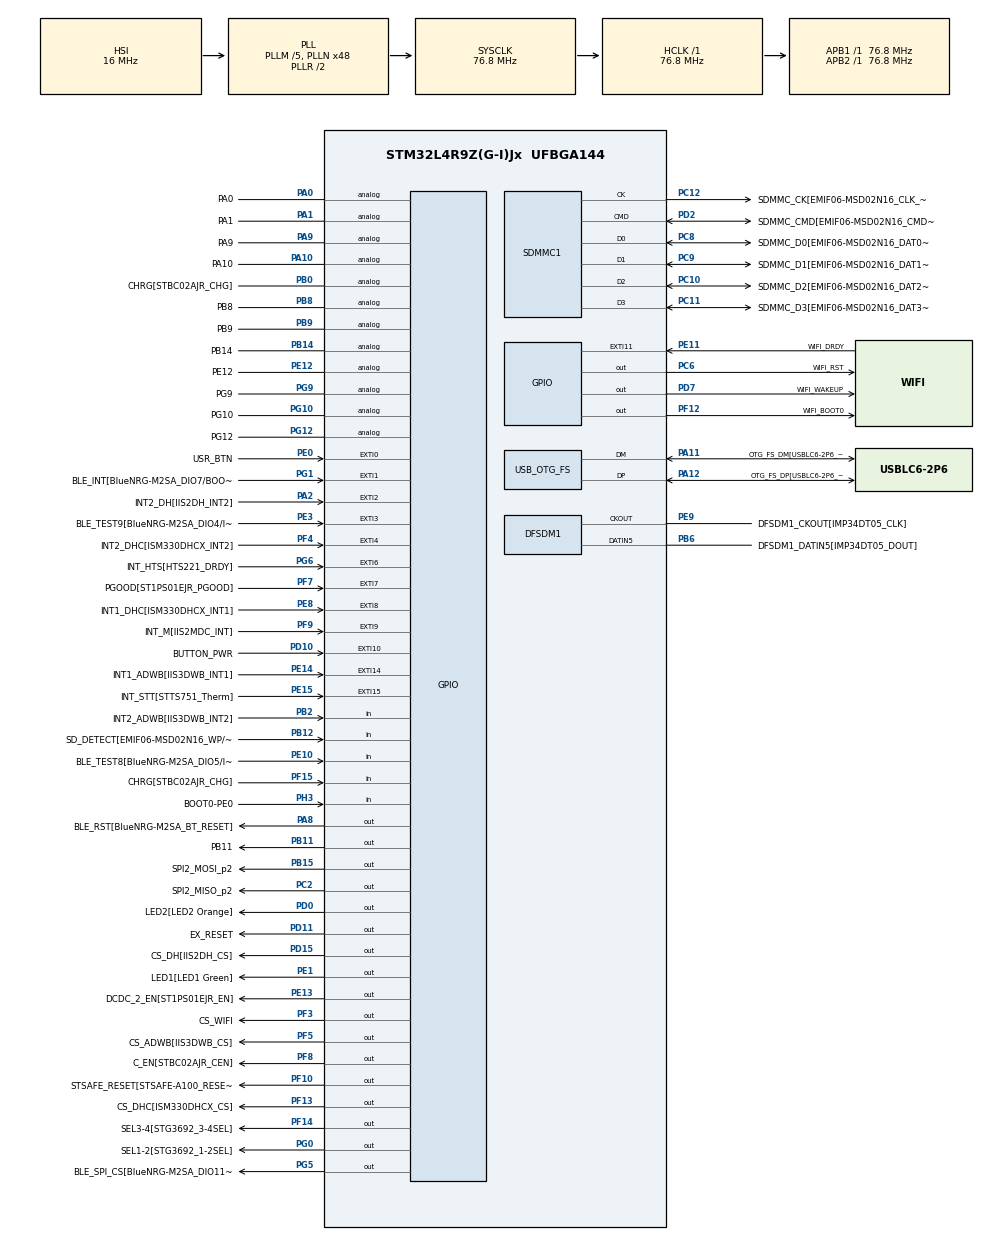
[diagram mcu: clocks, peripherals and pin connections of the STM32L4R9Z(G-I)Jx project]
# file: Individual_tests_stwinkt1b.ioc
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DFSDM1.Divider=25
DFSDM1.DmaMode_reg_FIL0=ENABLE
DFSDM1.FastMode_reg_FIL0=ENABLE
DFSDM1.FilterOrder_CH4=DFSDM_CHANNEL_FASTSINC_ORDER
DFSDM1.Filter_regChannel_FIL0=DFSDM_CHANNEL_4
DFSDM1.Fosr_FIL0=64
DFSDM1.RightBitShift_CH4=0x02
DFSDM1.SincOrder_FIL0=DFSDM_FILTER_SINC4_ORDER
DFSDM1.Type_spi_CH4=DFSDM_CHANNEL_SPI_RISING
Dma.DFSDM1_FLT0.0.Direction=DMA_PERIPH_TO_MEMORY
Dma.DFSDM1_FLT0.0.EventEnable=DISABLE
Dma.DFSDM1_FLT0.0.Instance=DMA1_Channel1
Dma.DFSDM1_FLT0.0.MemDataAlignment=DMA_MDATAALIGN_WORD
Dma.DFSDM1_FLT0.0.MemInc=DMA_MINC_ENABLE
Dma.DFSDM1_FLT0.0.Mode=DMA_CIRCULAR
Dma.DFSDM1_FLT0.0.PeriphDataAlignment=DMA_PDATAALIGN_WORD
Dma.DFSDM1_FLT0.0.PeriphInc=DMA_PINC_DISABLE
Dma.DFSDM1_FLT0.0.Polarity=HAL_DMAMUX_REQUEST_GEN_RISING
Dma.DFSDM1_FLT0.0.Priority=DMA_PRIORITY_LOW
Dma.DFSDM1_FLT0.0.RequestNumber=1
Dma.DFSDM1_FLT0.0.SignalID=NONE
Dma.DFSDM1_FLT0.0.SyncEnable=DISABLE
Dma.DFSDM1_FLT0.0.SyncPolarity=HAL_DMAMUX_SYNC_NO_EVENT
Dma.DFSDM1_FLT0.0.SyncRequestNumber=1
Dma.DFSDM1_FLT0.0.SyncSignalID=NONE
Dma.Request0=DFSDM1_FLT0
FATFS.BSP.number=1
FATFS.USE_DMA_CODE_SD=1
FATFS0.BSP.STBoard=false
FATFS0.BSP.api=Unknown
FATFS0.BSP.instance=PB12
FATFS0.BSP.ip=GPIO
FATFS0.BSP.mode=Input
FATFS0.BSP.name=Detect_SDIO
FATFS0.BSP.solution=PB12
Mcu.Family=STM32L4
Mcu.Name=STM32L4R9Z(G-I)Jx
Mcu.Package=UFBGA144
NVIC.DMA1_Channel1_IRQn=true\:0\:0\:false\:false\:true\:false\:true\:true
NVIC.EXTI0_IRQn=true\:0\:0\:false\:false\:true\:true\:true\:true
NVIC.PriorityGroup=NVIC_PRIORITYGROUP_4
NVIC.SDMMC1_IRQn=true\:0\:0\:false\:false\:true\:true\:true\:true
PA0.GPIO_Label=PA0
PA0.Signal=GPIO_Analog
PA1.GPIO_Label=PA1
PA1.Signal=GPIO_Analog
PA10.GPIO_Label=PA10
PA10.Signal=GPIO_Analog
PA11.GPIO_Label=OTG_FS_DM[USBLC6-2P6_D2]
PA11.Mode=Device_Only
PA11.Signal=USB_OTG_FS_DM
PA12.GPIO_Label=OTG_FS_DP[USBLC6-2P6_D1]
PA12.Mode=Device_Only
PA12.Signal=USB_OTG_FS_DP
PA13\ (JTMS/SWDIO).GPIO_Label=SWDIO
PA13\ (JTMS/SWDIO).Signal=SYS_JTMS-SWDIO
PA14\ (JTCK/SWCLK).GPIO_Label=SWDCLK
PA14\ (JTCK/SWCLK).Signal=SYS_JTCK-SWCLK
PA15\ (JTDI).GPIO_Label=EX_PWM
PA15\ (JTDI).Signal=S_TIM2_CH1
PA2.GPIO_Label=INT2_DH[IIS2DH_INT2]
PA2.Signal=GPXTI2
PA4.GPIO_Label=DAC1_OUT1
PA4.Signal=COMP_DAC11_group
PA5.GPIO_Label=EX_ADC
PA5.Signal=ADCx_IN10
PA8.GPIO_Label=BLE_RST[BlueNRG-M2SA_BT_RESET]
PA8.Signal=GPIO_Output
PA9.GPIO_Label=PA9
PA9.Signal=GPIO_Analog
PB0.GPIO_Label=CHRG[STBC02AJR_CHG]
PB0.Signal=GPIO_Analog
PB1.GPIO_Label=USART3_RTS[STG3692_3S2]
PB1.Signal=USART3_RTS
PB10.GPIO_Label=DFSDM1_D7
PB10.GPIO_PuPd=GPIO_PULLDOWN
PB10.GPIO_Speed=GPIO_SPEED_FREQ_VERY_HIGH
PB10.Signal=S_DATAIN7DFSDM1
PB11.GPIO_Label=PB11
PB11.Signal=GPIO_Output
PB12.GPIO_Label=SD_DETECT[EMIF06-MSD02N16_WP/CD]
PB12.Signal=GPIO_Input
PB13.GPIO_Label=USART3_CTS
PB13.Signal=USART3_CTS
PB14.GPIO_Label=PB14
PB14.Signal=GPIO_Analog
PB15.GPIO_Label=SPI2_MOSI_p2
PB15.Signal=GPIO_Output
PB2.GPIO_Label=INT2_ADWB[IIS3DWB_INT2]
PB2.Signal=GPIO_Input
PB3\ (JTDO/TRACESWO).GPIO_Label=SPI3_CLK[SENSORS_SCL]
PB3\ (JTDO/TRACESWO).Signal=SPI3_SCK
PB4\ (NJTRST).GPIO_Label=SPI3_MISO[SENSORS_SDO]
PB4\ (NJTRST).Signal=SPI3_MISO
PB5.GPIO_Label=SPI3_MOSI[SENSORS_SDA]
PB5.Signal=SPI3_MOSI
PB6.GPIO_Label=DFSDM1_DATIN5[IMP34DT05_DOUT]
PB6.GPIO_PuPd=GPIO_PULLDOWN
PB6.GPIO_Speed=GPIO_SPEED_FREQ_VERY_HIGH
PB6.Signal=S_DATAIN5DFSDM1
PB8.GPIO_Label=PB8
PB8.Signal=GPIO_Analog
PB9.GPIO_Label=PB9
PB9.Signal=GPIO_Analog
PC0.GPIO_Label=ADC1_IN1[TS922EIJT_OUT2]
PC0.Signal=ADCx_IN1
PC1.GPIO_Label=ADC1_IN2[TS922EIJT_OUT1]
PC1.Signal=ADCx_IN2
PC10.GPIO_Label=SDMMC_D2[EMIF06-MSD02N16_DAT2_In]
PC10.Mode=SD_4_bits_Wide_bus
PC10.Signal=SDMMC1_D2
PC11.GPIO_Label=SDMMC_D3[EMIF06-MSD02N16_DAT3_In]
PC11.Mode=SD_4_bits_Wide_bus
PC11.Signal=SDMMC1_D3
PC12.GPIO_Label=SDMMC_CK[EMIF06-MSD02N16_CLK_In]
PC12.Mode=SD_4_bits_Wide_bus
PC12.Signal=SDMMC1_CK
PC13.GPIO_Label=RTC_TAMP1
PC13.Signal=RTC_TAMP1
PC14-OSC32_IN\ (PC14).GPIO_Label=OSC32_IN
PC14-OSC32_IN\ (PC14).Signal=RCC_OSC32_IN
PC15-OSC32_OUT\ (PC15).GPIO_Label=OSC32_OUT
PC15-OSC32_OUT\ (PC15).Signal=RCC_OSC32_OUT
PC2.GPIO_Label=SPI2_MISO_p2
PC2.Signal=GPIO_Output
PC3.GPIO_Label=SPI2_MOSI[BlueNRG-M2SA_DIO3/SPI_MOSI]
PC3.Signal=SPI2_MOSI
PC4.GPIO_Label=uC_ADC_BATT[STBC02AJR_BATMS]
PC4.Signal=ADCx_IN13
PC5.GPIO_Label=PC5/WKUP5
PC5.Signal=SYS_WKUP5
PC6.GPIO_Label=WIFI_RST
PC6.Signal=GPIO_Output
PC8.GPIO_Label=SDMMC_D0[EMIF06-MSD02N16_DAT0_In]
PC8.Mode=SD_4_bits_Wide_bus
PC8.Signal=SDMMC1_D0
PC9.GPIO_Label=SDMMC_D1[EMIF06-MSD02N16_DAT1_In]
PC9.Mode=SD_4_bits_Wide_bus
PC9.Signal=SDMMC1_D1
PD0.GPIO_Label=LED2[LED2 Orange]
PD0.Signal=GPIO_Output
PD1.GPIO_Label=SPI2_CLK[BlueNRG-M2SA_DIO0/SPI_CLK]
PD1.Signal=SPI2_SCK
PD10.GPIO_Label=BUTTON_PWR
PD10.Signal=GPXTI10
PD11.GPIO_Label=EX_RESET 
PD11.Signal=GPIO_Output
PD12.GPIO_Label=I2C4_SCL
PD12.Signal=I2C4_SCL
PD13.GPIO_Label=I2C4_SDA
PD13.Signal=I2C4_SDA
PD15.GPIO_Label=CS_DH[IIS2DH_CS]
PD15.Signal=GPIO_Output
PD2.GPIO_Label=SDMMC_CMD[EMIF06-MSD02N16_CMD_In]
PD2.Mode=SD_4_bits_Wide_bus
PD2.Signal=SDMMC1_CMD
PD3.GPIO_Label=SPI2_MISO[BlueNRG-M2SA_DIO2/SPI_MISO]
PD3.Signal=SPI2_MISO
PD4.GPIO_Label=USART2_RTS[STR485LV_DE]
PD4.Signal=USART2_RTS
PD5.GPIO_Label=USART2_TX[STR485LV_D]
PD5.Signal=USART2_TX
PD6.GPIO_Label=USART2_RX[STR485LV_R]
PD6.Signal=USART2_RX
PD7.GPIO_Label=WIFI_WAKEUP
PD7.Signal=GPIO_Output
PD8.GPIO_Label=USART3_TX[STG3692_1S1]
PD8.Signal=USART3_TX
PD9.GPIO_Label=USART3_RX[STG3692_2S1]
PD9.Signal=USART3_RX
PE0.GPIO_Label=USR_BTN
PE0.Signal=GPXTI0
PE1.GPIO_Label=LED1[LED1 Green]
PE1.Signal=GPIO_Output
PE10.GPIO_Label=BLE_TEST8[BlueNRG-M2SA_DIO5/I2C_SDA]
PE10.Signal=GPIO_Input
PE11.GPIO_Label=WIFI_DRDY
PE11.Signal=GPXTI11
PE12.GPIO_Label=PE12
PE12.Signal=GPIO_Analog
PE13.GPIO_Label=DCDC_2_EN[ST1PS01EJR_EN]
PE13.Signal=GPIO_Output
PE14.GPIO_Label=INT1_ADWB[IIS3DWB_INT1]
PE14.Signal=GPXTI14
PE15.GPIO_Label=INT_STT[STTS751_Therm]
PE15.Signal=GPXTI15
PE2.GPIO_Label=SAI1_MCLK_A
PE2.Signal=SAI1_MCLK_A
PE3.GPIO_Label=BLE_TEST9[BlueNRG-M2SA_DIO4/I2C_CLK]
PE3.Signal=GPXTI3
PE4.GPIO_Label=SAI1_FS_A/DFSDM_D3
PE4.Signal=SAI1_FS_A
PE5.GPIO_Label=SAI1_SCK_A
PE5.Signal=SAI1_SCK_A
PE6.GPIO_Label=SAI1_SD_A
PE6.Signal=SAI1_SD_A
PE7.GPIO_Label=SAI1_SD_B
PE7.Signal=SAI1_SD_B
PE8.GPIO_Label=INT1_DHC[ISM330DHCX_INT1]
PE8.Signal=GPXTI8
PE9.GPIO_Label=DFSDM1_CKOUT[IMP34DT05_CLK]
PE9.GPIO_PuPd=GPIO_PULLDOWN
PE9.GPIO_Speed=GPIO_SPEED_FREQ_VERY_HIGH
PE9.Signal=S_CKOUTDFSDM1
PF0.GPIO_Label=I2C2_SDA[SENSORS_SDA]
PF0.Signal=I2C2_SDA
PF1.GPIO_Label=I2C2_SDA[SENSORS_SCL]
PF1.Signal=I2C2_SCL
PF10.GPIO_Label=STSAFE_RESET[STSAFE-A100_RESET]
PF10.Signal=GPIO_Output
PF12.GPIO_Label=WIFI_BOOT0
PF12.Signal=GPIO_Output
PF13.GPIO_Label=CS_DHC[ISM330DHCX_CS]
PF13.Signal=GPIO_Output
PF14.GPIO_Label=SEL3-4[STG3692_3-4SEL]
PF14.Signal=GPIO_Output
PF15.GPIO_Label=CHRG[STBC02AJR_CHG]
PF15.Signal=GPIO_Input
PF2.GPIO_Label=I2C2_SMBA[STTS751_EV]
PF2.Signal=I2C2_SMBA
PF3.GPIO_Label=CS_WIFI
PF3.Signal=GPIO_Output
PF4.GPIO_Label=INT2_DHC[ISM330DHCX_INT2]
PF4.Signal=GPXTI4
PF5.GPIO_Label=CS_ADWB[IIS3DWB_CS]
PF5.Signal=GPIO_Output
PF6.GPIO_Label=SW_SEL[STBC02AJR_SW_SEL]
PF6.GPIO_Speed=GPIO_SPEED_FREQ_HIGH
PF6.Signal=S_TIM5_CH1
PF7.GPIO_Label=PGOOD[ST1PS01EJR_PGOOD]
PF7.Signal=GPXTI7
PF8.GPIO_Label=C_EN[STBC02AJR_CEN]
PF8.Signal=GPIO_Output
PF9.GPIO_Label=INT_M[IIS2MDC_INT]
PF9.Signal=GPXTI9
PG0.GPIO_Label=SEL1-2[STG3692_1-2SEL]
PG0.Signal=GPIO_Output
PG1.GPIO_Label=BLE_INT[BlueNRG-M2SA_DIO7/BOOT/UART_CTS]
PG1.Signal=GPXTI1
PG10.GPIO_Label=PG10
PG10.Signal=GPIO_Analog
PG12.GPIO_Label=PG12
PG12.Signal=GPIO_Analog
PG2.GPIO_Label=SPI1_CLK
PG2.Signal=SPI1_SCK
PG3.GPIO_Label=SPI1_MISO
PG3.Signal=SPI1_MISO
PG4.GPIO_Label=SPI1_MOSI
PG4.Signal=SPI1_MOSI
PG5.GPIO_Label=BLE_SPI_CS[BlueNRG-M2SA_DIO11/UART_RXD]
PG5.Signal=GPIO_Output
PG6.GPIO_Label=INT_HTS[HTS221_DRDY]
PG6.Signal=GPXTI6
PG7.GPIO_Label=I2C3_SCL[STSAFE-A110_SCL]
PG7.Signal=I2C3_SCL
PG8.GPIO_Label=I2C3_SDA[STSAFE-A110_SDA]
PG8.Signal=I2C3_SDA
PG9.GPIO_Label=PG9
PG9.Signal=GPIO_Analog
PH0-OSC_IN\ (PH0).GPIO_Label=OSC_IN
PH0-OSC_IN\ (PH0).Signal=RCC_OSC_IN
PH1-OSC_OUT\ (PH1).GPIO_Label=OSC_OUT
PH1-OSC_OUT\ (PH1).Signal=RCC_OSC_OUT
PH3-BOOT0.GPIO_Label=BOOT0-PE0
PH3-BOOT0.Signal=GPIO_Input
ProjectManager.HeapSize=0x1000
ProjectManager.StackSize=0x2000
ProjectManager.TargetToolchain=STM32CubeIDE
RCC.ADCFreq_Value=76800000
RCC.AHBFreq_Value=76800000
RCC.APB1Freq_Value=76800000
RCC.APB1TimFreq_Value=76800000
RCC.APB2Freq_Value=76800000
RCC.APB2TimFreq_Value=76800000
RCC.CK48CLockSelection=RCC_USBCLKSOURCE_HSI48
RCC.CortexFreq_Value=76800000
RCC.DSITX_Div=1
RCC.HCLKFreq_Value=76800000
RCC.HSE_VALUE=16000000
RCC.HSI48_VALUE=48000000
RCC.HSI_VALUE=16000000
RCC.LSE_VALUE=32768
RCC.MSIClockRange=RCC_MSIRANGE_9
RCC.MSI_VALUE=24000000
RCC.PLLDSIODF=DSI_PLL_OUT_DIV2
RCC.PLLM1=5
RCC.PLLM2=5
RCC.PLLM3=2
RCC.PLLN=48
RCC.PLLSAI1N=96
RCC.PLLSAI1P=RCC_PLLP_DIV25
RCC.PLLSAI1Q=RCC_PLLQ_DIV4
RCC.PLLSAI1R=RCC_PLLR_DIV4
RCC.PLLSourceVirtual=RCC_PLLSOURCE_HSI
RCC.RTCClockSelection=RCC_RTCCLKSOURCE_LSE
RCC.SDMMCClockSelection=RCC_SDIOCLKSOURCE_CLK48
RCC.SYSCLKFreq_VALUE=76800000
RCC.SYSCLKSource=RCC_SYSCLKSOURCE_PLLCLK
RCC.USBFreq_Value=48000000
RCC.VCOOutputFreq_Value=153600000
SDMMC1.ClockDiv=1
SDMMC1.HardwareFlowControl=SDMMC_HARDWARE_FLOW_CONTROL_ENABLE
SH.ADCx_IN1.0=ADC1_IN1
SH.ADCx_IN10.0=ADC1_IN10
SH.ADCx_IN13.0=ADC1_IN13
SH.ADCx_IN2.0=ADC1_IN2
SH.COMP_DAC11_group.0=DAC1_OUT1
SH.S_CKOUTDFSDM1.0=DFSDM1_CKOUT,PDM_SPI_Input_from_ch45_and_Internal_Clock
SH.S_DATAIN5DFSDM1.0=DFSDM1_DATIN5,PDM_SPI_Input_from_ch45_and_Internal_Clock
SH.S_DATAIN7DFSDM1.0=DFSDM1_DATIN7
SH.S_TIM2_CH1.0=TIM2_CH1
SH.S_TIM5_CH1.0=TIM5_CH1
USB_OTG_FS.Sof_enable=DISABLE
USB_OTG_FS.VirtualMode=Device_Only
VP_FATFS_VS_SDIO.Mode=SDIO
board=STEVAL-STWINKT1B

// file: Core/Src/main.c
/* USER CODE BEGIN Header */
/**
  ******************************************************************************
  * @file           : main.c
  * @brief          : Main program body
  ******************************************************************************
  * @attention
  *
  * Copyright (c) 2026 STMicroelectronics.
  * All rights reserved.
  *
  * This software is licensed under terms that can be found in the LICENSE file
  * in the root directory of this software component.
  * If no LICENSE file comes with this software, it is provided AS-IS.
  *
  ******************************************************************************
  */
/* USER CODE END Header */
#include "main.h"
#include "fatfs.h"

/* USER CODE BEGIN PD */
#define SaturaLH(N, L, H) (((N)<(L))?(L):(((N)>(H))?(H):(N)))
#define MIC_BUFF_SIZE 4096
#define MIC_BUFF_SIZE_HALF 2048
/* USER CODE END PD */

DFSDM_Filter_HandleTypeDef hdfsdm1_filter0;
DFSDM_Channel_HandleTypeDef hdfsdm1_channel4;
DMA_HandleTypeDef hdma_dfsdm1_flt0;

SD_HandleTypeDef hsd1;

PCD_HandleTypeDef hpcd_USB_OTG_FS;

/* USER CODE BEGIN PV */
static __IO uint8_t SD_Status = SD_NOT_PRESENT;
int32_t  RecBuff[MIC_BUFF_SIZE];
int16_t  StoreBuff[MIC_BUFF_SIZE_HALF];
volatile uint32_t                     DmaRecHalfBuffCplt  = 0;
volatile uint32_t                     DmaRecBuffCplt     = 0;
volatile uint8_t 					  recordingState = 0;
/* USER CODE END PV */

void SystemClock_Config(void);
static void MX_GPIO_Init(void);
static void MX_DMA_Init(void);
static void MX_USB_OTG_FS_PCD_Init(void);
static void MX_SDMMC1_SD_Init(void);
static void MX_DFSDM1_Init(void);
/* USER CODE BEGIN PFP */
void BSP_SD_MspInit(SD_HandleTypeDef* hsd);
uint8_t BSP_SD_IsDetected(void);
/* USER CODE END PFP */

int main(void)
{

  /* MCU Configuration--------------------------------------------------------*/

  /* Reset of all peripherals, Initializes the Flash interface and the Systick. */
  HAL_Init();

  /* Configure the system clock */
  SystemClock_Config();

  /* Initialize all configured peripherals */
  MX_GPIO_Init();
  MX_DMA_Init();
  MX_USB_OTG_FS_PCD_Init();
  MX_SDMMC1_SD_Init();
  MX_FATFS_Init();
  MX_DFSDM1_Init();
  /* USER CODE BEGIN 2 */
  HAL_GPIO_WritePin(LED2_GPIO_Port, LED2_Pin, GPIO_PIN_SET);
  HAL_GPIO_WritePin(LED1_GPIO_Port, LED1_Pin, GPIO_PIN_RESET);

  /* USER CODE END 2 */

  /* Infinite loop */
  /* USER CODE BEGIN WHILE */
  while (1)
  {
	  if (recordingState == 1){
		  recordingState++;
		  // initialization
		  if (MX_FATFS_Log_Enable() == 0){
			  while(1){
				  HAL_GPIO_TogglePin(LED1_GPIO_Port, LED1_Pin);
				  HAL_Delay(500);
				  HAL_GPIO_TogglePin(LED1_GPIO_Port, LED1_Pin);
				  HAL_Delay(100);
			  }
		  }
		  if(HAL_OK != HAL_DFSDM_FilterRegularStart_DMA(&hdfsdm1_filter0, RecBuff, MIC_BUFF_SIZE))
	  	  {
			  while(1){
				  HAL_GPIO_TogglePin(LED1_GPIO_Port, LED1_Pin);
				  HAL_Delay(500);
				  HAL_GPIO_TogglePin(LED1_GPIO_Port, LED1_Pin);
				  HAL_Delay(100);
			  }
	  	  }

	  } else if (recordingState == 2){
		  // begins acquisition and storing
		  int32_t *pSource = NULL;

		  if (DmaRecHalfBuffCplt) {
			  pSource = &RecBuff[0];
			  DmaRecHalfBuffCplt = 0;
		  } else if (DmaRecBuffCplt) {
			  pSource = &RecBuff[MIC_BUFF_SIZE_HALF];
			  DmaRecBuffCplt = 0;
		  }

		  if (pSource != NULL) {
			  for (int i = 0; i < MIC_BUFF_SIZE_HALF; i++) {
				  StoreBuff[i] = SaturaLH((pSource[i] >> 12), -32768, 32767);
			  }
			  Write_PCM_Data(StoreBuff, MIC_BUFF_SIZE_HALF * sizeof(int16_t));
		  }
	  }

	  else if (recordingState == 3){
		  recordingState = 0;
          HAL_DFSDM_FilterRegularStop_DMA(&hdfsdm1_filter0);
          MX_FATFS_Log_Disable();
	  }
    /* USER CODE END WHILE */

  }
}

void SystemClock_Config(void)
{
  RCC_OscInitTypeDef RCC_OscInitStruct = {0};
  RCC_ClkInitTypeDef RCC_ClkInitStruct = {0};

  /** Configure the main internal regulator output voltage
  */
  if (HAL_PWREx_ControlVoltageScaling(PWR_REGULATOR_VOLTAGE_SCALE1) != HAL_OK)
  {
    Error_Handler();
  }

  /** Initializes the RCC Oscillators according to the specified parameters
  * in the RCC_OscInitTypeDef structure.
  */
  RCC_OscInitStruct.OscillatorType = RCC_OSCILLATORTYPE_HSI48|RCC_OSCILLATORTYPE_HSI;
  RCC_OscInitStruct.HSIState = RCC_HSI_ON;
  RCC_OscInitStruct.HSI48State = RCC_HSI48_ON;
  RCC_OscInitStruct.HSICalibrationValue = RCC_HSICALIBRATION_DEFAULT;
  RCC_OscInitStruct.PLL.PLLState = RCC_PLL_ON;
  RCC_OscInitStruct.PLL.PLLSource = RCC_PLLSOURCE_HSI;
  RCC_OscInitStruct.PLL.PLLM = 5;
  RCC_OscInitStruct.PLL.PLLN = 48;
  RCC_OscInitStruct.PLL.PLLP = RCC_PLLP_DIV2;
  RCC_OscInitStruct.PLL.PLLQ = RCC_PLLQ_DIV2;
  RCC_OscInitStruct.PLL.PLLR = RCC_PLLR_DIV2;
  if (HAL_RCC_OscConfig(&RCC_OscInitStruct) != HAL_OK)
  {
    Error_Handler();
  }

  /** Initializes the CPU, AHB and APB buses clocks
  */
  RCC_ClkInitStruct.ClockType = RCC_CLOCKTYPE_HCLK|RCC_CLOCKTYPE_SYSCLK
                              |RCC_CLOCKTYPE_PCLK1|RCC_CLOCKTYPE_PCLK2;
  RCC_ClkInitStruct.SYSCLKSource = RCC_SYSCLKSOURCE_PLLCLK;
  RCC_ClkInitStruct.AHBCLKDivider = RCC_SYSCLK_DIV1;
  RCC_ClkInitStruct.APB1CLKDivider = RCC_HCLK_DIV1;
  RCC_ClkInitStruct.APB2CLKDivider = RCC_HCLK_DIV1;

  if (HAL_RCC_ClockConfig(&RCC_ClkInitStruct, FLASH_LATENCY_3) != HAL_OK)
  {
    Error_Handler();
  }
}

static void MX_DFSDM1_Init(void)
{

  hdfsdm1_filter0.Instance = DFSDM1_Filter0;
  hdfsdm1_filter0.Init.RegularParam.Trigger = DFSDM_FILTER_SW_TRIGGER;
  hdfsdm1_filter0.Init.RegularParam.FastMode = ENABLE;
  hdfsdm1_filter0.Init.RegularParam.DmaMode = ENABLE;
  hdfsdm1_filter0.Init.FilterParam.SincOrder = DFSDM_FILTER_SINC4_ORDER;
  hdfsdm1_filter0.Init.FilterParam.Oversampling = 64;
  hdfsdm1_filter0.Init.FilterParam.IntOversampling = 1;
  if (HAL_DFSDM_FilterInit(&hdfsdm1_filter0) != HAL_OK)
  {
    Error_Handler();
  }
  hdfsdm1_channel4.Instance = DFSDM1_Channel4;
  hdfsdm1_channel4.Init.OutputClock.Activation = ENABLE;
  hdfsdm1_channel4.Init.OutputClock.Selection = DFSDM_CHANNEL_OUTPUT_CLOCK_SYSTEM;
  hdfsdm1_channel4.Init.OutputClock.Divider = 25;
  hdfsdm1_channel4.Init.Input.Multiplexer = DFSDM_CHANNEL_EXTERNAL_INPUTS;
  hdfsdm1_channel4.Init.Input.DataPacking = DFSDM_CHANNEL_STANDARD_MODE;
  hdfsdm1_channel4.Init.Input.Pins = DFSDM_CHANNEL_FOLLOWING_CHANNEL_PINS;
  hdfsdm1_channel4.Init.SerialInterface.Type = DFSDM_CHANNEL_SPI_RISING;
  hdfsdm1_channel4.Init.SerialInterface.SpiClock = DFSDM_CHANNEL_SPI_CLOCK_INTERNAL;
  hdfsdm1_channel4.Init.Awd.FilterOrder = DFSDM_CHANNEL_FASTSINC_ORDER;
  hdfsdm1_channel4.Init.Awd.Oversampling = 1;
  hdfsdm1_channel4.Init.Offset = 0;
  hdfsdm1_channel4.Init.RightBitShift = 0x02;
  if (HAL_DFSDM_ChannelInit(&hdfsdm1_channel4) != HAL_OK)
  {
    Error_Handler();
  }
  if (HAL_DFSDM_FilterConfigRegChannel(&hdfsdm1_filter0, DFSDM_CHANNEL_4, DFSDM_CONTINUOUS_CONV_ON) != HAL_OK)
  {
    Error_Handler();
  }

}

static void MX_SDMMC1_SD_Init(void)
{

  hsd1.Instance = SDMMC1;
  hsd1.Init.ClockEdge = SDMMC_CLOCK_EDGE_RISING;
  hsd1.Init.ClockPowerSave = SDMMC_CLOCK_POWER_SAVE_DISABLE;
  hsd1.Init.BusWide = SDMMC_BUS_WIDE_4B;
  hsd1.Init.HardwareFlowControl = SDMMC_HARDWARE_FLOW_CONTROL_ENABLE;
  hsd1.Init.ClockDiv = 1;
  hsd1.Init.Transceiver = SDMMC_TRANSCEIVER_DISABLE;
  /* USER CODE BEGIN SDMMC1_Init 2 */
  BSP_SD_MspInit(&hsd1);

	if (BSP_SD_IsDetected() != SD_PRESENT)
	{
	  //return MSD_ERROR_SD_NOT_PRESENT;
		while(1)
		  {
			HAL_GPIO_TogglePin(LED1_GPIO_Port, LED1_Pin);
			HAL_Delay(500);
			HAL_GPIO_TogglePin(LED1_GPIO_Port, LED1_Pin);
			HAL_Delay(100);
		  }
	}
	/* HAL SD initialization */
	HAL_StatusTypeDef sd_state = HAL_SD_Init(&hsd1);
	if(sd_state != HAL_OK)
	    {
	      /* FatFs Initialization Error */
	      while(1)
	      {
	        HAL_GPIO_TogglePin(LED1_GPIO_Port, LED1_Pin);
	        HAL_Delay(500);
	        HAL_GPIO_TogglePin(LED1_GPIO_Port, LED1_Pin);
	        HAL_Delay(100);
	      }
	    }
  /* USER CODE END SDMMC1_Init 2 */

}

static void MX_USB_OTG_FS_PCD_Init(void)
{

  hpcd_USB_OTG_FS.Instance = USB_OTG_FS;
  hpcd_USB_OTG_FS.Init.dev_endpoints = 6;
  hpcd_USB_OTG_FS.Init.speed = PCD_SPEED_FULL;
  hpcd_USB_OTG_FS.Init.phy_itface = PCD_PHY_EMBEDDED;
  hpcd_USB_OTG_FS.Init.Sof_enable = DISABLE;
  hpcd_USB_OTG_FS.Init.low_power_enable = DISABLE;
  hpcd_USB_OTG_FS.Init.lpm_enable = DISABLE;
  hpcd_USB_OTG_FS.Init.battery_charging_enable = DISABLE;
  hpcd_USB_OTG_FS.Init.use_dedicated_ep1 = DISABLE;
  hpcd_USB_OTG_FS.Init.vbus_sensing_enable = DISABLE;
  if (HAL_PCD_Init(&hpcd_USB_OTG_FS) != HAL_OK)
  {
    Error_Handler();
  }

}

static void MX_DMA_Init(void)
{

  /* DMA controller clock enable */
  __HAL_RCC_DMAMUX1_CLK_ENABLE();
  __HAL_RCC_DMA1_CLK_ENABLE();

  /* DMA interrupt init */
  /* DMA1_Channel1_IRQn interrupt configuration */
  HAL_NVIC_SetPriority(DMA1_Channel1_IRQn, 0, 0);
  HAL_NVIC_EnableIRQ(DMA1_Channel1_IRQn);

}

static void MX_GPIO_Init(void)
{
  GPIO_InitTypeDef GPIO_InitStruct = {0};

  /* GPIO Ports Clock Enable */
  __HAL_RCC_GPIOE_CLK_ENABLE();
  __HAL_RCC_GPIOB_CLK_ENABLE();
  __HAL_RCC_GPIOH_CLK_ENABLE();
  __HAL_RCC_GPIOD_CLK_ENABLE();
  __HAL_RCC_GPIOC_CLK_ENABLE();
  __HAL_RCC_GPIOA_CLK_ENABLE();
  __HAL_RCC_GPIOG_CLK_ENABLE();
  HAL_PWREx_EnableVddIO2();
  __HAL_RCC_GPIOF_CLK_ENABLE();

  /*Configure GPIO pin Output Level */
  HAL_GPIO_WritePin(GPIOE, LED1_Pin|DCDC_2_EN_Pin, GPIO_PIN_RESET);

  /*Configure GPIO pin Output Level */
  HAL_GPIO_WritePin(GPIOD, LED2_Pin|WIFI_WAKEUP_Pin|CS_DH_Pin|EX_RESET_Pin, GPIO_PIN_RESET);

  /*Configure GPIO pin Output Level */
  HAL_GPIO_WritePin(BLE_RST_GPIO_Port, BLE_RST_Pin, GPIO_PIN_RESET);

  /*Configure GPIO pin Output Level */
  HAL_GPIO_WritePin(GPIOC, WIFI_RST_Pin|SPI2_MISO_p2_Pin, GPIO_PIN_RESET);

  /*Configure GPIO pin Output Level */
  HAL_GPIO_WritePin(GPIOF, CS_WIFI_Pin|C_EN_Pin|CS_ADWB_Pin|STSAFE_RESET_Pin
                          |WIFI_BOOT0_Pin|CS_DHC_Pin|SEL3_4_Pin, GPIO_PIN_RESET);

  /*Configure GPIO pin Output Level */
  HAL_GPIO_WritePin(GPIOG, BLE_SPI_CS_Pin|SEL1_2_Pin, GPIO_PIN_RESET);

  /*Configure GPIO pin Output Level */
  HAL_GPIO_WritePin(GPIOB, SPI2_MOSI_p2_Pin|PB11_Pin, GPIO_PIN_RESET);

  /*Configure GPIO pins : USR_BTN_Pin BLE_TEST9_Pin WIFI_DRDY_Pin INT1_DHC_Pin
                           INT_STT_Pin INT1_ADWB_Pin */
  GPIO_InitStruct.Pin = USR_BTN_Pin|BLE_TEST9_Pin|WIFI_DRDY_Pin|INT1_DHC_Pin
                          |INT_STT_Pin|INT1_ADWB_Pin;
  GPIO_InitStruct.Mode = GPIO_MODE_IT_RISING;
  GPIO_InitStruct.Pull = GPIO_NOPULL;
  HAL_GPIO_Init(GPIOE, &GPIO_InitStruct);

  /*Configure GPIO pins : PB9_Pin PB8_Pin PB14_Pin CHRGB0_Pin */
  GPIO_InitStruct.Pin = PB9_Pin|PB8_Pin|PB14_Pin|CHRGB0_Pin;
  GPIO_InitStruct.Mode = GPIO_MODE_ANALOG;
  GPIO_InitStruct.Pull = GPIO_NOPULL;
  HAL_GPIO_Init(GPIOB, &GPIO_InitStruct);

  /*Configure GPIO pin : BOOT0_PE0_Pin */
  GPIO_InitStruct.Pin = BOOT0_PE0_Pin;
  GPIO_InitStruct.Mode = GPIO_MODE_INPUT;
  GPIO_InitStruct.Pull = GPIO_NOPULL;
  HAL_GPIO_Init(BOOT0_PE0_GPIO_Port, &GPIO_InitStruct);

  /*Configure GPIO pins : SPI3_MISO_Pin SPI3_MOSI_Pin SPI3_CLK_Pin */
  GPIO_InitStruct.Pin = SPI3_MISO_Pin|SPI3_MOSI_Pin|SPI3_CLK_Pin;
  GPIO_InitStruct.Mode = GPIO_MODE_AF_PP;
  GPIO_InitStruct.Pull = GPIO_NOPULL;
  GPIO_InitStruct.Speed = GPIO_SPEED_FREQ_VERY_HIGH;
  GPIO_InitStruct.Alternate = GPIO_AF6_SPI3;
  HAL_GPIO_Init(GPIOB, &GPIO_InitStruct);

  /*Configure GPIO pins : SPI2_MISO_Pin SPI2_CLK_Pin */
  GPIO_InitStruct.Pin = SPI2_MISO_Pin|SPI2_CLK_Pin;
  GPIO_InitStruct.Mode = GPIO_MODE_AF_PP;
  GPIO_InitStruct.Pull = GPIO_NOPULL;
  GPIO_InitStruct.Speed = GPIO_SPEED_FREQ_VERY_HIGH;
  GPIO_InitStruct.Alternate = GPIO_AF5_SPI2;
  HAL_GPIO_Init(GPIOD, &GPIO_InitStruct);

  /*Configure GPIO pins : USART2_RX_Pin USART2_RTS_Pin USART2_TX_Pin */
  GPIO_InitStruct.Pin = USART2_RX_Pin|USART2_RTS_Pin|USART2_TX_Pin;
  GPIO_InitStruct.Mode = GPIO_MODE_AF_PP;
  GPIO_InitStruct.Pull = GPIO_NOPULL;
  GPIO_InitStruct.Speed = GPIO_SPEED_FREQ_VERY_HIGH;
  GPIO_InitStruct.Alternate = GPIO_AF7_USART2;
  HAL_GPIO_Init(GPIOD, &GPIO_InitStruct);

  /*Configure GPIO pin : EX_PWM_Pin */
  GPIO_InitStruct.Pin = EX_PWM_Pin;
  GPIO_InitStruct.Mode = GPIO_MODE_AF_PP;
  GPIO_InitStruct.Pull = GPIO_NOPULL;
  GPIO_InitStruct.Speed = GPIO_SPEED_FREQ_LOW;
  GPIO_InitStruct.Alternate = GPIO_AF1_TIM2;
  HAL_GPIO_Init(EX_PWM_GPIO_Port, &GPIO_InitStruct);

  /*Configure GPIO pins : SAI1_SCK_A_Pin SAI1_MCLK_A_Pin SAI1_FS_A_DFSDM_D3_Pin SAI1_SD_A_Pin
                           SAI1_SD_B_Pin */
  GPIO_InitStruct.Pin = SAI1_SCK_A_Pin|SAI1_MCLK_A_Pin|SAI1_FS_A_DFSDM_D3_Pin|SAI1_SD_A_Pin
                          |SAI1_SD_B_Pin;
  GPIO_InitStruct.Mode = GPIO_MODE_AF_PP;
  GPIO_InitStruct.Pull = GPIO_NOPULL;
  GPIO_InitStruct.Speed = GPIO_SPEED_FREQ_LOW;
  GPIO_InitStruct.Alternate = GPIO_AF13_SAI1;
  HAL_GPIO_Init(GPIOE, &GPIO_InitStruct);

  /*Configure GPIO pins : LED1_Pin DCDC_2_EN_Pin */
  GPIO_InitStruct.Pin = LED1_Pin|DCDC_2_EN_Pin;
  GPIO_InitStruct.Mode = GPIO_MODE_OUTPUT_PP;
  GPIO_InitStruct.Pull = GPIO_NOPULL;
  GPIO_InitStruct.Speed = GPIO_SPEED_FREQ_LOW;
  HAL_GPIO_Init(GPIOE, &GPIO_InitStruct);

  /*Configure GPIO pins : LED2_Pin WIFI_WAKEUP_Pin CS_DH_Pin EX_RESET_Pin */
  GPIO_InitStruct.Pin = LED2_Pin|WIFI_WAKEUP_Pin|CS_DH_Pin|EX_RESET_Pin;
  GPIO_InitStruct.Mode = GPIO_MODE_OUTPUT_PP;
  GPIO_InitStruct.Pull = GPIO_NOPULL;
  GPIO_InitStruct.Speed = GPIO_SPEED_FREQ_LOW;
  HAL_GPIO_Init(GPIOD, &GPIO_InitStruct);

  /*Configure GPIO pins : PA10_Pin PA9_Pin PA0_Pin DAC1_OUT1_Pin
                           PA1_Pin */
  GPIO_InitStruct.Pin = PA10_Pin|PA9_Pin|PA0_Pin|DAC1_OUT1_Pin
                          |PA1_Pin;
  GPIO_InitStruct.Mode = GPIO_MODE_ANALOG;
  GPIO_InitStruct.Pull = GPIO_NOPULL;
  HAL_GPIO_Init(GPIOA, &GPIO_InitStruct);

  /*Configure GPIO pins : PG12_Pin PG10_Pin PG9_Pin */
  GPIO_InitStruct.Pin = PG12_Pin|PG10_Pin|PG9_Pin;
  GPIO_InitStruct.Mode = GPIO_MODE_ANALOG;
  GPIO_InitStruct.Pull = GPIO_NOPULL;
  HAL_GPIO_Init(GPIOG, &GPIO_InitStruct);

  /*Configure GPIO pin : BLE_RST_Pin */
  GPIO_InitStruct.Pin = BLE_RST_Pin;
  GPIO_InitStruct.Mode = GPIO_MODE_OUTPUT_PP;
  GPIO_InitStruct.Pull = GPIO_NOPULL;
  GPIO_InitStruct.Speed = GPIO_SPEED_FREQ_LOW;
  HAL_GPIO_Init(BLE_RST_GPIO_Port, &GPIO_InitStruct);

  /*Configure GPIO pins : WIFI_RST_Pin SPI2_MISO_p2_Pin */
  GPIO_InitStruct.Pin = WIFI_RST_Pin|SPI2_MISO_p2_Pin;
  GPIO_InitStruct.Mode = GPIO_MODE_OUTPUT_PP;
  GPIO_InitStruct.Pull = GPIO_NOPULL;
  GPIO_InitStruct.Speed = GPIO_SPEED_FREQ_LOW;
  HAL_GPIO_Init(GPIOC, &GPIO_InitStruct);

  /*Configure GPIO pins : I2C2_SMBA_Pin I2C2_SDA_Pin I2C2_SDAF0_Pin */
  GPIO_InitStruct.Pin = I2C2_SMBA_Pin|I2C2_SDA_Pin|I2C2_SDAF0_Pin;
  GPIO_InitStruct.Mode = GPIO_MODE_AF_OD;
  GPIO_InitStruct.Pull = GPIO_NOPULL;
  GPIO_InitStruct.Speed = GPIO_SPEED_FREQ_VERY_HIGH;
  GPIO_InitStruct.Alternate = GPIO_AF4_I2C2;
  HAL_GPIO_Init(GPIOF, &GPIO_InitStruct);

  /*Configure GPIO pins : CS_WIFI_Pin C_EN_Pin CS_ADWB_Pin STSAFE_RESET_Pin
                           WIFI_BOOT0_Pin CS_DHC_Pin SEL3_4_Pin */
  GPIO_InitStruct.Pin = CS_WIFI_Pin|C_EN_Pin|CS_ADWB_Pin|STSAFE_RESET_Pin
                          |WIFI_BOOT0_Pin|CS_DHC_Pin|SEL3_4_Pin;
  GPIO_InitStruct.Mode = GPIO_MODE_OUTPUT_PP;
  GPIO_InitStruct.Pull = GPIO_NOPULL;
  GPIO_InitStruct.Speed = GPIO_SPEED_FREQ_LOW;
  HAL_GPIO_Init(GPIOF, &GPIO_InitStruct);

  /*Configure GPIO pins : I2C3_SDA_Pin I2C3_SCL_Pin */
  GPIO_InitStruct.Pin = I2C3_SDA_Pin|I2C3_SCL_Pin;
  GPIO_InitStruct.Mode = GPIO_MODE_AF_OD;
  GPIO_InitStruct.Pull = GPIO_NOPULL;
  GPIO_InitStruct.Speed = GPIO_SPEED_FREQ_VERY_HIGH;
  GPIO_InitStruct.Alternate = GPIO_AF4_I2C3;
  HAL_GPIO_Init(GPIOG, &GPIO_InitStruct);

  /*Configure GPIO pin : SW_SEL_Pin */
  GPIO_InitStruct.Pin = SW_SEL_Pin;
  GPIO_InitStruct.Mode = GPIO_MODE_AF_PP;
  GPIO_InitStruct.Pull = GPIO_NOPULL;
  GPIO_InitStruct.Speed = GPIO_SPEED_FREQ_HIGH;
  GPIO_InitStruct.Alternate = GPIO_AF2_TIM5;
  HAL_GPIO_Init(SW_SEL_GPIO_Port, &GPIO_InitStruct);

  /*Configure GPIO pins : INT2_DHC_Pin PGOOD_Pin INT_M_Pin */
  GPIO_InitStruct.Pin = INT2_DHC_Pin|PGOOD_Pin|INT_M_Pin;
  GPIO_InitStruct.Mode = GPIO_MODE_IT_RISING;
  GPIO_InitStruct.Pull = GPIO_NOPULL;
  HAL_GPIO_Init(GPIOF, &GPIO_InitStruct);

  /*Configure GPIO pins : SPI1_MISO_Pin SPI1_MOSI_Pin SPI1_CLK_Pin */
  GPIO_InitStruct.Pin = SPI1_MISO_Pin|SPI1_MOSI_Pin|SPI1_CLK_Pin;
  GPIO_InitStruct.Mode = GPIO_MODE_AF_PP;
  GPIO_InitStruct.Pull = GPIO_NOPULL;
  GPIO_InitStruct.Speed = GPIO_SPEED_FREQ_VERY_HIGH;
  GPIO_InitStruct.Alternate = GPIO_AF5_SPI1;
  HAL_GPIO_Init(GPIOG, &GPIO_InitStruct);

  /*Configure GPIO pins : BLE_SPI_CS_Pin SEL1_2_Pin */
  GPIO_InitStruct.Pin = BLE_SPI_CS_Pin|SEL1_2_Pin;
  GPIO_InitStruct.Mode = GPIO_MODE_OUTPUT_PP;
  GPIO_InitStruct.Pull = GPIO_NOPULL;
  GPIO_InitStruct.Speed = GPIO_SPEED_FREQ_LOW;
  HAL_GPIO_Init(GPIOG, &GPIO_InitStruct);

  /*Configure GPIO pins : INT_HTS_Pin BLE_INT_Pin */
  GPIO_InitStruct.Pin = INT_HTS_Pin|BLE_INT_Pin;
  GPIO_InitStruct.Mode = GPIO_MODE_IT_RISING;
  GPIO_InitStruct.Pull = GPIO_NOPULL;
  HAL_GPIO_Init(GPIOG, &GPIO_InitStruct);

  /*Configure GPIO pins : I2C4_SCL_Pin I2C4_SDA_Pin */
  GPIO_InitStruct.Pin = I2C4_SCL_Pin|I2C4_SDA_Pin;
  GPIO_InitStruct.Mode = GPIO_MODE_AF_OD;
  GPIO_InitStruct.Pull = GPIO_NOPULL;
  GPIO_InitStruct.Speed = GPIO_SPEED_FREQ_VERY_HIGH;
  GPIO_InitStruct.Alternate = GPIO_AF4_I2C4;
  HAL_GPIO_Init(GPIOD, &GPIO_InitStruct);

  /*Configure GPIO pins : ADC1_IN1_Pin ADC1_IN2_Pin uC_ADC_BATT_Pin */
  GPIO_InitStruct.Pin = ADC1_IN1_Pin|ADC1_IN2_Pin|uC_ADC_BATT_Pin;
  GPIO_InitStruct.Mode = GPIO_MODE_ANALOG_ADC_CONTROL;
  GPIO_InitStruct.Pull = GPIO_NOPULL;
  HAL_GPIO_Init(GPIOC, &GPIO_InitStruct);

  /*Configure GPIO pins : INT2_ADWB_Pin SD_DETECT_Pin */
  GPIO_InitStruct.Pin = INT2_ADWB_Pin|SD_DETECT_Pin;
  GPIO_InitStruct.Mode = GPIO_MODE_INPUT;
  GPIO_InitStruct.Pull = GPIO_NOPULL;
  HAL_GPIO_Init(GPIOB, &GPIO_InitStruct);

  /*Configure GPIO pin : CHRG_Pin */
  GPIO_InitStruct.Pin = CHRG_Pin;
  GPIO_InitStruct.Mode = GPIO_MODE_INPUT;
  GPIO_InitStruct.Pull = GPIO_NOPULL;
  HAL_GPIO_Init(CHRG_GPIO_Port, &GPIO_InitStruct);

  /*Configure GPIO pin : BUTTON_PWR_Pin */
  GPIO_InitStruct.Pin = BUTTON_PWR_Pin;
  GPIO_InitStruct.Mode = GPIO_MODE_IT_RISING;
  GPIO_InitStruct.Pull = GPIO_NOPULL;
  HAL_GPIO_Init(BUTTON_PWR_GPIO_Port, &GPIO_InitStruct);

  /*Configure GPIO pins : USART3_RX_Pin USART3_TX_Pin */
  GPIO_InitStruct.Pin = USART3_RX_Pin|USART3_TX_Pin;
  GPIO_InitStruct.Mode = GPIO_MODE_AF_PP;
  GPIO_InitStruct.Pull = GPIO_NOPULL;
  GPIO_InitStruct.Speed = GPIO_SPEED_FREQ_VERY_HIGH;
  GPIO_InitStruct.Alternate = GPIO_AF7_USART3;
  HAL_GPIO_Init(GPIOD, &GPIO_InitStruct);

  /*Configure GPIO pin : SPI2_MOSI_Pin */
  GPIO_InitStruct.Pin = SPI2_MOSI_Pin;
  GPIO_InitStruct.Mode = GPIO_MODE_AF_PP;
  GPIO_InitStruct.Pull = GPIO_NOPULL;
  GPIO_InitStruct.Speed = GPIO_SPEED_FREQ_VERY_HIGH;
  GPIO_InitStruct.Alternate = GPIO_AF5_SPI2;
  HAL_GPIO_Init(SPI2_MOSI_GPIO_Port, &GPIO_InitStruct);

  /*Configure GPIO pins : USART3_RTS_Pin USART3_CTS_Pin */
  GPIO_InitStruct.Pin = USART3_RTS_Pin|USART3_CTS_Pin;
  GPIO_InitStruct.Mode = GPIO_MODE_AF_PP;
  GPIO_InitStruct.Pull = GPIO_NOPULL;
  GPIO_InitStruct.Speed = GPIO_SPEED_FREQ_VERY_HIGH;
  GPIO_InitStruct.Alternate = GPIO_AF7_USART3;
  HAL_GPIO_Init(GPIOB, &GPIO_InitStruct);

  /*Configure GPIO pins : SPI2_MOSI_p2_Pin PB11_Pin */
  GPIO_InitStruct.Pin = SPI2_MOSI_p2_Pin|PB11_Pin;
  GPIO_InitStruct.Mode = GPIO_MODE_OUTPUT_PP;
  GPIO_InitStruct.Pull = GPIO_NOPULL;
  GPIO_InitStruct.Speed = GPIO_SPEED_FREQ_LOW;
  HAL_GPIO_Init(GPIOB, &GPIO_InitStruct);

  /*Configure GPIO pin : INT2_DH_Pin */
  GPIO_InitStruct.Pin = INT2_DH_Pin;
  GPIO_InitStruct.Mode = GPIO_MODE_IT_RISING;
  GPIO_InitStruct.Pull = GPIO_NOPULL;
  HAL_GPIO_Init(INT2_DH_GPIO_Port, &GPIO_InitStruct);

  /*Configure GPIO pin : EX_ADC_Pin */
  GPIO_InitStruct.Pin = EX_ADC_Pin;
  GPIO_InitStruct.Mode = GPIO_MODE_ANALOG_ADC_CONTROL;
  GPIO_InitStruct.Pull = GPIO_NOPULL;
  HAL_GPIO_Init(EX_ADC_GPIO_Port, &GPIO_InitStruct);

  /*Configure GPIO pin : BLE_TEST8_Pin */
  GPIO_InitStruct.Pin = BLE_TEST8_Pin;
  GPIO_InitStruct.Mode = GPIO_MODE_INPUT;
  GPIO_InitStruct.Pull = GPIO_NOPULL;
  HAL_GPIO_Init(BLE_TEST8_GPIO_Port, &GPIO_InitStruct);

  /*Configure GPIO pin : PE12_Pin */
  GPIO_InitStruct.Pin = PE12_Pin;
  GPIO_InitStruct.Mode = GPIO_MODE_ANALOG;
  GPIO_InitStruct.Pull = GPIO_NOPULL;
  HAL_GPIO_Init(PE12_GPIO_Port, &GPIO_InitStruct);

  /* EXTI interrupt init*/
  HAL_NVIC_SetPriority(EXTI0_IRQn, 0, 0);
  HAL_NVIC_EnableIRQ(EXTI0_IRQn);

}

/* USER CODE BEGIN 4 */

void BSP_SD_MspInit(SD_HandleTypeDef* hsd)
{
  UNUSED(hsd);
  GPIO_InitTypeDef gpioinitstruct = {0};

  /* Enable SDMMC1 clock */
  __HAL_RCC_SDMMC1_CLK_ENABLE();

  /* Enable GPIOs clock */
  __HAL_RCC_GPIOC_CLK_ENABLE();
  __HAL_RCC_GPIOD_CLK_ENABLE();

  /* Common GPIO configuration */
  gpioinitstruct.Mode      = GPIO_MODE_AF_PP;
  gpioinitstruct.Pull      = GPIO_PULLUP;
  gpioinitstruct.Speed     = GPIO_SPEED_FREQ_VERY_HIGH;
  gpioinitstruct.Alternate = GPIO_AF12_SDMMC1;

  /* GPIOC configuration */
  gpioinitstruct.Pin = GPIO_PIN_8 | GPIO_PIN_9 | GPIO_PIN_10 | GPIO_PIN_11 | GPIO_PIN_12;
  HAL_GPIO_Init(GPIOC, &gpioinitstruct);

  /* GPIOD configuration */
  gpioinitstruct.Pin = GPIO_PIN_2;
  HAL_GPIO_Init(GPIOD, &gpioinitstruct);

  /* NVIC configuration for SDMMC1 interrupts */
  HAL_NVIC_SetPriority(SDMMC1_IRQn, 5, 0);
  HAL_NVIC_EnableIRQ(SDMMC1_IRQn);

}
uint8_t BSP_SD_IsDetected(void)
{
  /* Check SD card detect pin */
  if(HAL_GPIO_ReadPin(SD_DETECT_GPIO_Port, SD_DETECT_Pin) == GPIO_PIN_RESET)
  {
    SD_Status = SD_NOT_PRESENT;
  }
  else
  {
    SD_Status = SD_PRESENT;
  }

  return SD_Status;
}

/**
  * @brief  Half regular conversion complete callback.
  * @param  hdfsdm_filter : DFSDM filter handle.
  * @retval None
  */
void HAL_DFSDM_FilterRegConvHalfCpltCallback(DFSDM_Filter_HandleTypeDef *hdfsdm_filter)
{
  if(hdfsdm_filter == &hdfsdm1_filter0)
  {
    DmaRecHalfBuffCplt = 1;
  }
}

/**
  * @brief  Regular conversion complete callback.
  * @note   In interrupt mode, user has to read conversion value in this function
            using HAL_DFSDM_FilterGetRegularValue.
  * @param  hdfsdm_filter : DFSDM filter handle.
  * @retval None
  */
void HAL_DFSDM_FilterRegConvCpltCallback(DFSDM_Filter_HandleTypeDef *hdfsdm_filter)
{
  if(hdfsdm_filter == &hdfsdm1_filter0)
  {
    DmaRecBuffCplt = 1;
  }
}

void HAL_GPIO_EXTI_Callback(uint16_t GPIO_Pin)
{
    if (GPIO_Pin == USR_BTN_Pin)
    {
        if (recordingState == 0){
          recordingState++;
          HAL_GPIO_WritePin(LED2_GPIO_Port, LED2_Pin, GPIO_PIN_RESET);
          HAL_GPIO_WritePin(LED1_GPIO_Port, LED1_Pin, GPIO_PIN_SET);

        } else if (recordingState == 2){
        	recordingState++;
            HAL_GPIO_WritePin(LED2_GPIO_Port, LED2_Pin, GPIO_PIN_SET);
            HAL_GPIO_WritePin(LED1_GPIO_Port, LED1_Pin, GPIO_PIN_RESET);
        }
    }
}
/* USER CODE END 4 */

void Error_Handler(void)
{
  __disable_irq();
  while (1)
  {
  }
}
